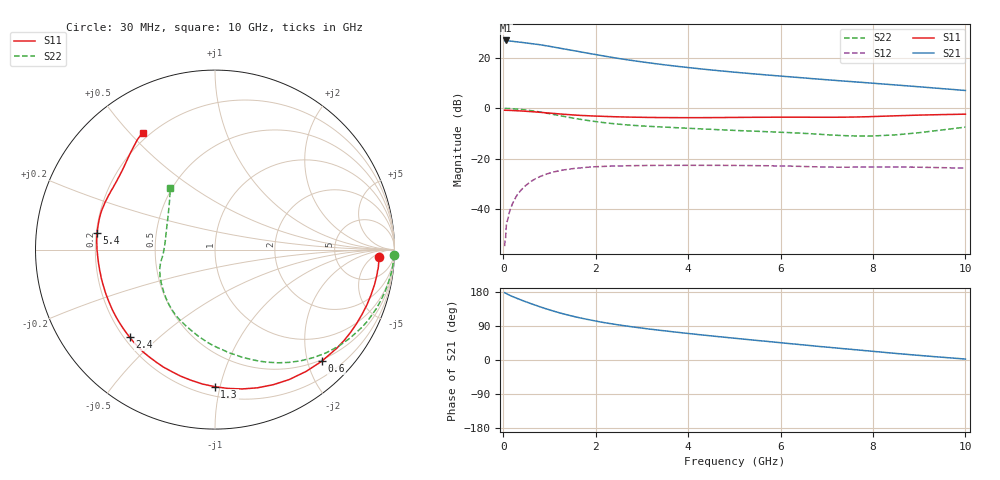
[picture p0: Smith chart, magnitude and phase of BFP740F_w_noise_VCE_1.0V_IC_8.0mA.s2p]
! Infineon Technologies  Discrete & RF Semiconductors
! BFP740F
! VCE =  1.0 V,  IC =  8.0 mA
! Common Emitter S-Parameters:  Oct 2012
# GHz  S  MA  R  50
!  f  S11  S21  S12  S22
! GHz  MAG  ANG  MAG  ANG  MAG  ANG  MAG  ANG
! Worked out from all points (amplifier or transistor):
!   99 points, 30 MHz to 10 GHz, reference 50 ohm
!   highest |S21| = 27.0 dB at 50 MHz (marker M1)
!   |S21| within 3 dB of that: start of sweep to 1.203 GHz
!   unconditionally stable (mu >= 1): 6.981 GHz to end of sweep
!   at 350 MHz: K = 0.07, MSG = 29.9 dB, |S12| = -33.4 dB
!   at 3.5 GHz: K = 0.43, MSG = 20.0 dB, |S12| = -22.7 dB
!   at 10 GHz: K = 1.31, MAG = 12.1 dB, |S12| = -23.8 dB
!   lowest NFmin = 0.42 dB at 450 MHz
!   S11 on the Smith chart (normalised r, x): 30 MHz: 18, -9; 600 MHz: 0.47, -2.26; 1.3 GHz: 0.26, -0.96; 2.4 GHz: 0.22, -0.40; 5.4 GHz: 0.20, +0.07; 10 GHz: 0.17, +0.54
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0.03  0.9173 -2.5  22.25 177.6  0.0018 88.3  0.9957 -1.7
0.05  0.915 -4.0  22.5 176.4  0.0025 96.5  0.9955 -2.9
0.07  0.9153 -5.8  22.42 175.1  0.005 89.8  0.996 -4.1
0.2  0.9052 -16.2  21.64 167.5  0.0126 81.7  0.9818 -11.7
0.3  0.8949 -23.9  21.11 162.5  0.0188 75.9  0.9661 -17.2
0.45  0.8795 -35.2  20.3 155.4  0.0272 70.2  0.9377 -25.3
0.6  0.8608 -46.2  19.51 148.7  0.035 63.9  0.8997 -33.2
0.8  0.8337 -60.3  18.48 140.2  0.044 56.3  0.8439 -43.1
0.9  0.8197 -66.7  17.83 136.2  0.0478 52.6  0.8139 -47.7
1.1  0.7911 -78.9  16.56 128.7  0.0543 46.0  0.7524 -56.6
1.3  0.7637 -90.1  15.35 121.8  0.0592 40.4  0.6942 -64.7
1.7  0.7212 -109.5  13.18 110.2  0.0656 31.3  0.5974 -79.0
2.1  0.697 -125.0  11.35 100.5  0.0693 24.1  0.53 -92.1
2.4  0.6814 -134.3  10.19 94.5  0.0709 19.9  0.4945 -100.2
2.8  0.6679 -144.8  8.955 87.4  0.0722 15.6  0.4593 -109.3
3.4  0.6563 -157.6  7.545 78.2  0.073 10.3  0.4273 -120.5
4.2  0.6525 -171.1  6.212 67.4  0.0734 5.1  0.3934 -132.0
5.1  0.6608 175.9  5.157 56.3  0.0728 0.3  0.3606 -144.5
5.4  0.6634 171.8  4.881 52.7  0.0725 -1.0  0.3518 -148.5
6.7  0.6653 154.5  3.901 37.5  0.0687 -5.9  0.3105 -166.8
8.5  0.711 132.1  2.92 17.3  0.068 -8.1  0.2967 154.8
10  0.766 121.7  2.27 2.5  0.0644 -11.2  0.4224 126.1
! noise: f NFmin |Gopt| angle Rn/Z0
0.45  0.42  0.27  6  0.19
0.9  0.47  0.27  11  0.15
1.5  0.53  0.26  23  0.11
1.9  0.58  0.26  31  0.1
2.4  0.63  0.25  42  0.09
3.5  0.76  0.22  65  0.1
5.5  0.98  0.13  118  0.12
10  1.43  0.38  -121  0.08
